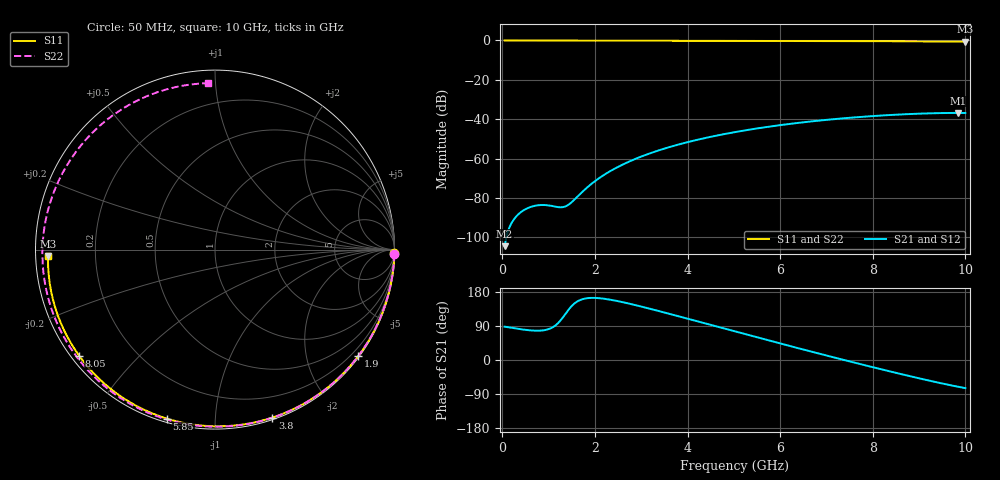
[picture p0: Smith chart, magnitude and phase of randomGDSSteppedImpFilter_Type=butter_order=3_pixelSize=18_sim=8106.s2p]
! freq	dB(S11)	phase(S11)	dB(S12)	phase(S12)
!  dB(S21)	phase(S21)	dB(S22)	phase(S22)
!S-par simulation data
#  GHz  S  DB  R 50
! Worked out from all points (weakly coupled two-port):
!   200 points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, 50 MHz to 10 GHz, reference 50 ohm
!   highest |S21| = -36.81 dB at 9.85 GHz (marker M1); lowest = -104.5 dB at 50 MHz (marker M2)
!   lowest |S11| = -0.6 dB at 10 GHz (marker M3), VSWR 27.92, Z = 1.79 - j0.939 ohm
!   |S11| at or under -10 dB: nowhere
!   |S22| runs from -0.7 to 0.0 dB; largest |S21 - S12| = 0
!   S11 on the Smith chart (normalised r, x): 50 MHz: open; 1.9 GHz: 0.03, -3.02; 3.8 GHz: 0.02, -1.40; 5.85 GHz: 0.02, -0.76; 8.05 GHz: 0.02, -0.34; 10 GHz: 0.04, -0.02
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0.05  -0.00 -1.0  -104.50 88.0  -104.50 88.0  -0.00 -1.5
0.75  -0.02 -14.6  -83.79 77.3  -83.79 77.3  -0.03 -21.7
1.55  -0.04 -30.0  -81.02 148.4  -81.02 148.4  -0.06 -44.2
1.6  -0.04 -30.9  -79.87 153.0  -79.87 153.0  -0.06 -45.6
1.75  -0.04 -33.8  -76.43 161.1  -76.43 161.1  -0.06 -49.8
1.9  -0.05 -36.6  -73.34 163.8  -73.34 163.8  -0.07 -53.9
2.2  -0.05 -42.2  -68.24 161.6  -68.24 161.6  -0.08 -62.0
2.55  -0.06 -48.7  -63.62 153.9  -63.62 153.9  -0.09 -71.2
2.95  -0.07 -56.0  -59.44 142.6  -59.44 142.6  -0.10 -81.6
3.4  -0.08 -64.1  -55.67 128.5  -55.67 128.5  -0.12 -93.1
3.8  -0.10 -71.1  -52.90 115.6  -52.90 115.6  -0.14 -103.0
4.4  -0.12 -81.5  -49.46 95.9  -49.46 95.9  -0.16 -117.6
5.05  -0.14 -92.6  -46.45 74.5  -46.45 74.5  -0.20 -133.2
5.85  -0.18 -105.8  -43.50 48.5  -43.50 48.5  -0.25 -152.3
6.7  -0.24 -119.7  -41.06 21.3  -41.06 21.3  -0.32 -172.9
7.4  -0.29 -131.2  -39.48 -0.6  -39.48 -0.6  -0.38 169.5
8.05  -0.35 -141.9  -38.33 -20.5  -38.33 -20.5  -0.44 152.1
8.35  -0.38 -147.0  -37.90 -29.5  -37.90 -29.5  -0.48 143.8
9.15  -0.48 -161.1  -37.07 -52.5  -37.07 -52.5  -0.56 120.0
9.5  -0.53 -167.7  -36.88 -62.0  -36.88 -62.0  -0.60 109.0
9.85  -0.59 -174.7  -36.81 -70.8  -36.81 -70.8  -0.64 97.5
10  -0.62 -177.8  -36.83 -74.2  -36.83 -74.2  -0.65 92.5
